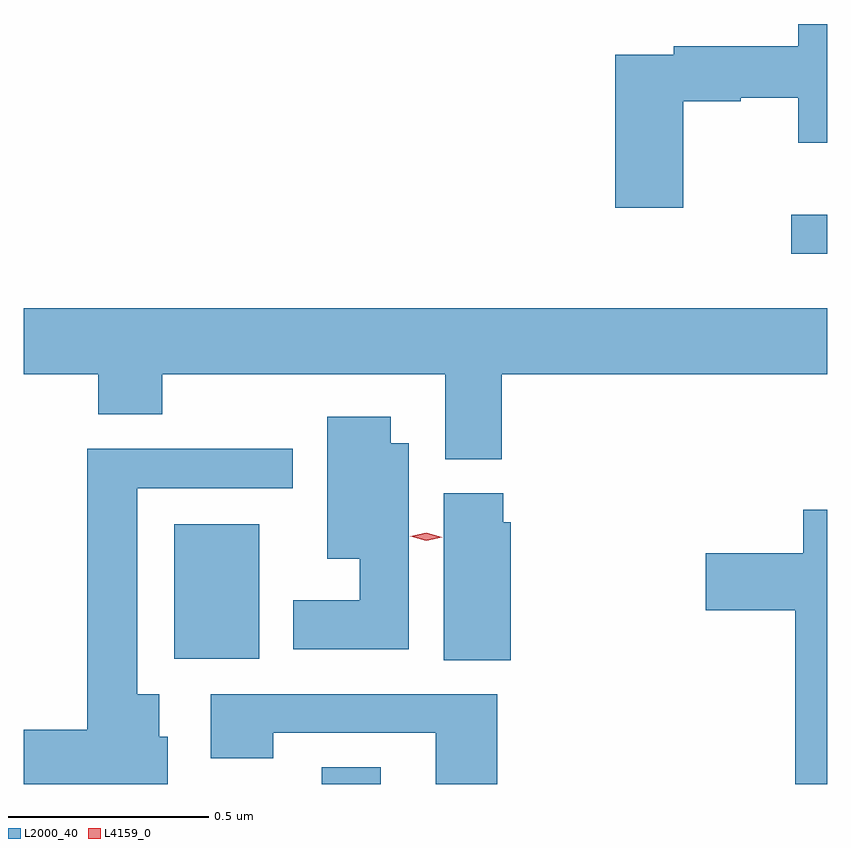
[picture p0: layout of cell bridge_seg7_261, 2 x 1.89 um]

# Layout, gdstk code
import gdstk
lib = gdstk.Library(unit=1e-6, precision=1e-09)
def R(c, l, rs):  # rectangles x0, y0, x1, y1
    for r in rs: c.add(gdstk.rectangle(r[:2], r[2:], *l))
def P(c, l, *ps):  # polygons
    for p in ps: c.add(gdstk.Polygon(p, *l))
L2000_40 = (2000, 40)
L4159_0 = (4159, 0)

bridge_seg7_261 = lib.new_cell('bridge_seg7_261')
R(bridge_seg7_261, L2000_40, [(173.482,1038.224,173.629,1038.266), (173.114,1038.536,173.326,1038.871), (174.651,1039.544,174.74,1039.641)])
P(bridge_seg7_261, L2000_40, [(174.382,1039.924),(174.525,1039.924),(174.525,1039.932),(174.668,1039.932),(174.668,1039.82),(174.74,1039.82),(174.74,1040.116),(174.668,1040.116),(174.668,1040.06),(174.358,1040.06),(174.358,1040.04),(174.212,1040.04),(174.212,1039.659),(174.382,1039.659)],
  [(173.93,1039.244),(174.74,1039.244),(174.74,1039.408),(172.74,1039.408),(172.74,1039.244),(172.925,1039.244),(172.925,1039.145),(173.085,1039.145),(173.085,1039.244),(173.789,1039.244),(173.789,1039.033),(173.93,1039.033)],
  [(173.698,1039.072),(173.653,1039.072),(173.653,1039.138),(173.495,1039.138),(173.495,1038.785),(173.576,1038.785),(173.576,1038.682),(173.411,1038.682),(173.411,1038.56),(173.698,1038.56)],
  [(173.098,1038.342),(173.077,1038.342),(173.077,1038.448),(173.023,1038.448),(173.023,1038.96),(173.41,1038.96),(173.41,1039.058),(172.898,1039.058),(172.898,1038.359),(172.74,1038.359),(172.74,1038.224),(173.098,1038.224)],
  [(173.952,1038.876),(173.933,1038.876),(173.933,1038.948),(173.786,1038.948),(173.786,1038.532),(173.952,1038.532)],
  [(174.74,1038.907),(174.68,1038.907),(174.68,1038.798),(174.438,1038.798),(174.438,1038.656),(174.661,1038.656),(174.661,1038.224),(174.74,1038.224)],
  [(173.918,1038.447),(173.205,1038.447),(173.205,1038.288),(173.361,1038.288),(173.361,1038.351),(173.765,1038.351),(173.765,1038.224),(173.918,1038.224)])
P(bridge_seg7_261, L4159_0, [(173.742,1038.829),(173.702,1038.841),(173.702,1038.841),(173.702,1038.841),(173.742,1038.849),(173.782,1038.838),(173.782,1038.838),(173.782,1038.838)])

lib.write_gds('bridge_seg7_261.gds')
